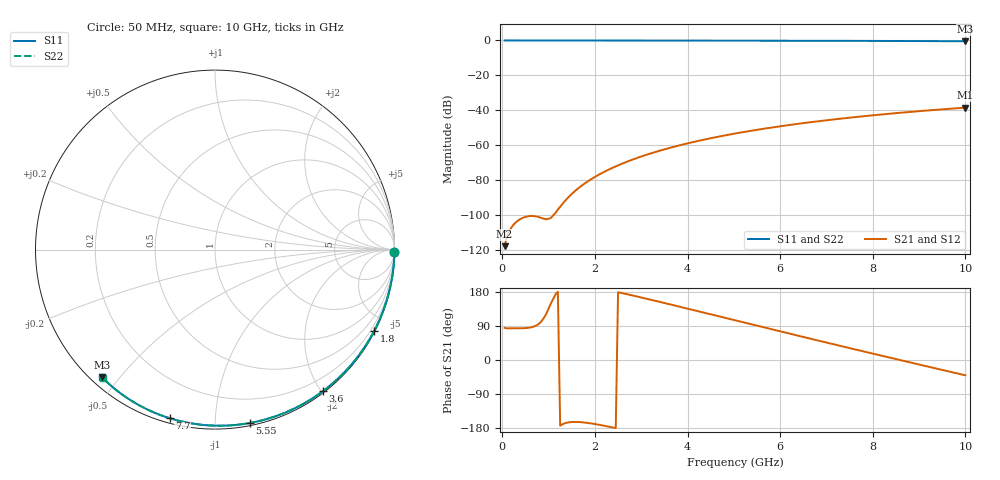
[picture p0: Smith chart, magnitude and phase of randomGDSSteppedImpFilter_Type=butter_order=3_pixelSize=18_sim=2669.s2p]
! freq	dB(S11)	phase(S11)	dB(S12)	phase(S12)
!  dB(S21)	phase(S21)	dB(S22)	phase(S22)
!S-par simulation data
#  GHz  S  DB  R 50
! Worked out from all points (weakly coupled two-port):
!   200 points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, 50 MHz to 10 GHz, reference 50 ohm
!   highest |S21| = -38.43 dB at 10 GHz (marker M1); lowest = -117.7 dB at 50 MHz (marker M2)
!   lowest |S11| = -0.4 dB at 10 GHz (marker M3), VSWR 39.05, Z = 1.54 - j22.5 ohm
!   |S11| at or under -10 dB: nowhere
!   |S22| runs from -0.4 to 0.0 dB; largest |S21 - S12| = 0
!   S11 on the Smith chart (normalised r, x): 50 MHz: open; 1.8 GHz: 0.04, -4.17; 3.6 GHz: 0.02, -2.02; 5.55 GHz: 0.02, -1.22; 7.7 GHz: 0.02, -0.77; 10 GHz: 0.03, -0.45
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0.05  -0.00 -0.8  -117.68 84.8  -117.68 84.8  -0.00 -0.8
0.9  -0.02 -13.6  -102.01 111.7  -102.01 111.7  -0.02 -13.6
1.75  -0.03 -26.2  -82.35 -164.7  -82.35 -164.7  -0.03 -26.1
1.8  -0.03 -26.9  -81.41 -165.4  -81.41 -165.4  -0.03 -26.9
1.85  -0.04 -27.7  -80.53 -166.2  -80.53 -166.2  -0.04 -27.6
1.9  -0.04 -28.4  -79.67 -167.0  -79.67 -167.0  -0.04 -28.3
2.05  -0.04 -30.6  -77.30 -170.1  -77.30 -170.1  -0.04 -30.5
2.25  -0.04 -33.5  -74.50 -174.7  -74.50 -174.7  -0.04 -33.4
2.45  -0.05 -36.4  -72.02 -179.8  -72.02 -179.8  -0.05 -36.3
2.65  -0.05 -39.3  -69.81 174.8  -69.81 174.8  -0.05 -39.2
3  -0.06 -44.3  -66.40 165.0  -66.40 165.0  -0.06 -44.2
3.4  -0.07 -49.9  -63.06 153.4  -63.06 153.4  -0.07 -49.8
3.6  -0.07 -52.7  -61.57 147.5  -61.57 147.5  -0.07 -52.5
4.3  -0.09 -62.3  -57.06 126.6  -57.06 126.6  -0.09 -62.1
5.05  -0.11 -72.2  -53.13 104.1  -53.13 104.1  -0.11 -72.0
5.55  -0.13 -78.7  -50.90 89.1  -50.90 89.1  -0.13 -78.5
6.1  -0.15 -85.7  -48.72 72.7  -48.72 72.7  -0.15 -85.4
6.7  -0.18 -93.1  -46.62 54.9  -46.62 54.9  -0.18 -92.8
7.7  -0.24 -105.1  -43.62 25.5  -43.62 25.5  -0.24 -104.8
8.35  -0.29 -112.7  -41.94 6.7  -41.94 6.7  -0.29 -112.4
9.15  -0.36 -121.9  -40.12 -16.2  -40.12 -16.2  -0.36 -121.5
10  -0.44 -131.5  -38.43 -40.4  -38.43 -40.4  -0.44 -131.1
